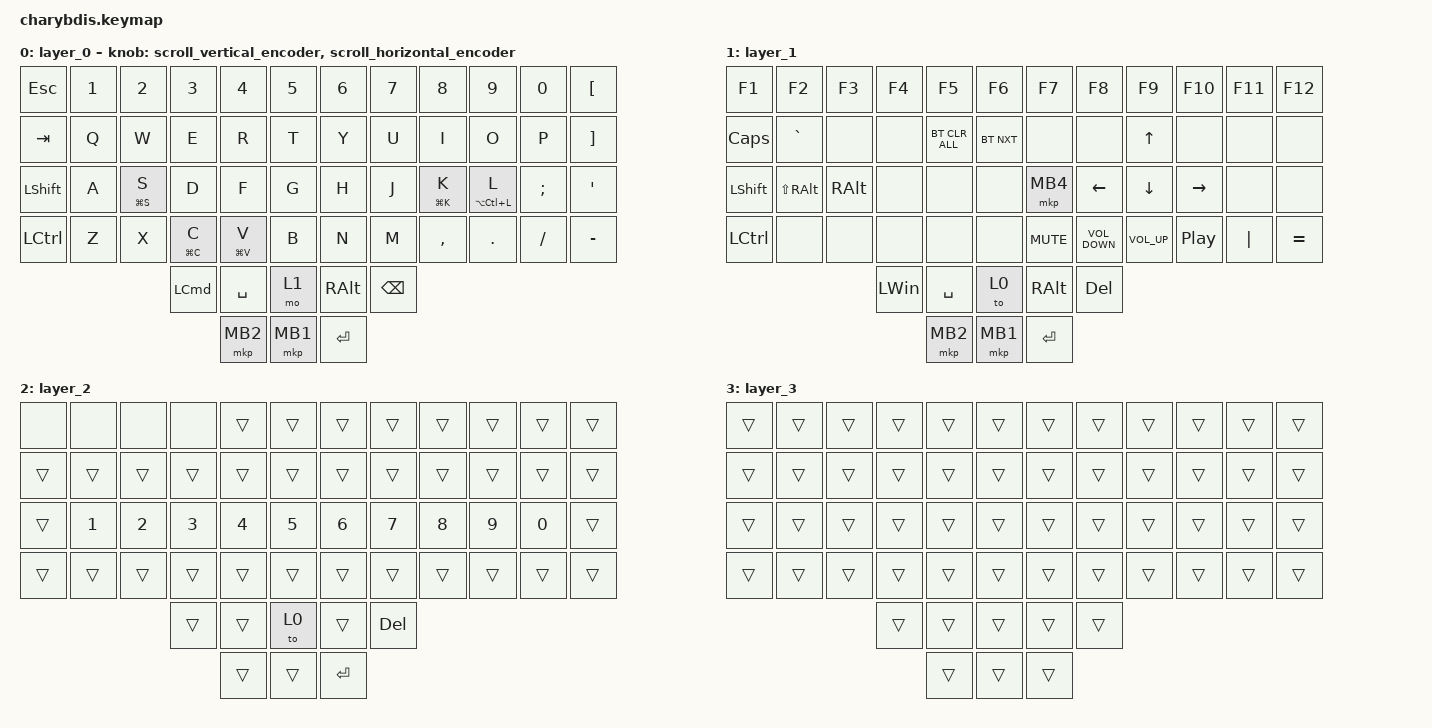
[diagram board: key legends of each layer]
#include <dt-bindings/zmk/mouse.h>
#include <input/processors.dtsi>
#include <zephyr/dt-bindings/input/input-event-codes.h>
#include <behaviors.dtsi>
#include <dt-bindings/zmk/bt.h>
#include <dt-bindings/zmk/keys.h>
#include <dt-bindings/zmk/pointing.h>

#define ZMK_POINTING_DEFAULT_MOVE_VAL 1000 // 600
#define ZMK_POINTING_DEFAULT_SCRL_VAL 12   // 10

&lt {
    tapping-term-ms = <200>;
    flavor = "balanced";
    quick-tap-ms = <150>;
    hold-trigger-key-positions = <50>;
};

&mmv_input_listener { input-processors = <&zip_xy_scaler 2 1>; };

&msc_input_listener { input-processors = <&zip_scroll_scaler 2 1>; };

&msc {
    acceleration-exponent = <0>;      // 0
    time-to-max-speed-ms = <100>;       // 300
    delay-ms = <0>;                   // 0
};

&mmv {
    time-to-max-speed-ms = <500>;
    acceleration-exponent = <1>;
    trigger-period-ms = <16>;
};

/ {
    // 上下滚动编码器行为

    scroll_vertical_encoder: scroll_vertical_encoder {
        compatible = "zmk,behavior-sensor-rotate";
        #sensor-binding-cells = <0>;
        bindings = <&msc SCRL_DOWN>, <&msc SCRL_UP>;

        tap-ms = <100>;
    };

    // 左右滚动编码器行为

    scroll_horizontal_encoder: scroll_horizontal_encoder {
        compatible = "zmk,behavior-sensor-rotate";
        #sensor-binding-cells = <0>;
        bindings = <&msc SCRL_LEFT>, <&msc SCRL_RIGHT>;

        tap-ms = <100>;
    };

    new_behavior: new_behavior {
        compatible = "zmk,behavior-hold-tap";
        label = "NEW_BEHAVIOR";
        bindings = <&mo>, <&mkp>;

        #binding-cells = <2>;
        hold-trigger-key-positions = <48>;
        tapping-term-ms = <1>;
    };

    behaviors {
    };

    combos {
        compatible = "zmk,combos";

        toLayer1 {
            bindings = <&to 1>;
            key-positions = <48 54>;
            layers = <0>;
        };

        toNumpad {
            bindings = <&to 2>;
            key-positions = <48 54>;
            layers = <1>;
        };

        toLayer0 {
            bindings = <&to 0>;
            key-positions = <48 54>;
            layers = <2>;
        };

        mk {
            bindings = <&mkp MB1>;
            key-positions = <42 43>;
        };

        scrolp {
            bindings = <&to 1>;
            key-positions = <55 51>;
            layers = <0>;
        };

        to0 {
            bindings = <&to 0>;
            key-positions = <55 51>;
            layers = <1>;
        };

        alt {
            bindings = <&kp LALT>;
            key-positions = <28 27>;
            layers = <0>;
        };

        to2 {
            bindings = <&to 2>;
            key-positions = <54 50>;
        };

        language_switch {
            bindings = <&kp LC(SPACE)>;
            key-positions = <49 53>;
        };
    };

    keymap {
        compatible = "zmk,keymap";

        layer_0 {
            bindings = <
&kp ESC           &kp N1  &kp N2       &kp N3            &kp N4       &kp N5      &kp N6         &kp N7         &kp N8       &kp N9           &kp N0    &kp LEFT_BRACKET
&kp TAB           &kp Q   &kp W        &kp E             &kp R        &kp T       &kp Y          &kp U          &kp I        &kp O            &kp P     &kp RIGHT_BRACKET
&kp LEFT_SHIFT    &kp A   &mt LG(S) S  &kp D             &kp F        &kp G       &kp H          &kp J          &mt LG(K) K  &mt LA(LC(L)) L  &kp SEMI  &kp SQT
&kp LEFT_CONTROL  &kp Z   &kp X        &mt LG(C) C       &mt LG(V) V  &kp B       &kp N          &kp M          &kp COMMA    &kp DOT          &kp FSLH  &kp MINUS
                                       &kp LEFT_COMMAND  &kp SPACE    &mo 1       &kp RIGHT_ALT  &kp BACKSPACE
                                                         &mkp MB2     &mkp MB1    &kp ENTER
            >;

            sensor-bindings =
                <&scroll_vertical_encoder>,
                // 编码器1：上下滚动,,,,,,,,,,,,,,,,,,,,,,,,,,,,,
                <&scroll_horizontal_encoder>;

            // 编码器2：左右滚动
        };

        layer_1 {
            bindings = <
&kp F1          &kp F2        &kp F3         &kp F4        &kp F5          &kp F6        &kp F7         &kp F8             &kp F9           &kp F10           &kp F11   &kp F12
&kp CAPS        &kp GRAVE     &none          &none         &bt BT_CLR_ALL  &bt BT_NXT    &none          &none              &kp UP           &none             &none     &none
&kp LEFT_SHIFT  &kp LS(RALT)  &kp RIGHT_ALT  &none         &none           &none         &mkp MB4       &kp LEFT           &kp DOWN         &kp RIGHT         &none     &none
&kp LCTRL       &none         &none          &none         &none           &none         &kp K_MUTE     &kp C_VOLUME_DOWN  &kp C_VOLUME_UP  &kp C_PLAY_PAUSE  &kp PIPE  &kp EQUAL
                                             &kp LEFT_WIN  &kp SPACE       &to 0         &kp RIGHT_ALT  &kp DEL
                                                           &mkp MB2        &mkp MB1      &kp ENTER
            >;
        };

        layer_2 {
            bindings = <
&none   &none         &none         &none         &trans        &trans    &trans        &trans      &trans  &trans  &trans  &trans
&trans  &trans        &trans        &trans        &trans        &trans    &trans        &trans      &trans  &trans  &trans  &trans
&trans  &kp NUMBER_1  &kp NUMBER_2  &kp NUMBER_3  &kp NUMBER_4  &kp N5    &kp NUMBER_6  &kp N7      &kp N8  &kp N9  &kp N0  &trans
&trans  &trans        &trans        &trans        &trans        &trans    &trans        &trans      &trans  &trans  &trans  &trans
                                    &trans        &trans        &to 0     &trans        &kp DELETE
                                                  &trans        &trans    &kp ENTER
            >;
        };

        layer_3 {
            bindings = <
&trans  &trans  &trans  &trans  &trans  &trans    &trans  &trans  &trans  &trans  &trans  &trans
&trans  &trans  &trans  &trans  &trans  &trans    &trans  &trans  &trans  &trans  &trans  &trans
&trans  &trans  &trans  &trans  &trans  &trans    &trans  &trans  &trans  &trans  &trans  &trans
&trans  &trans  &trans  &trans  &trans  &trans    &trans  &trans  &trans  &trans  &trans  &trans
                        &trans  &trans  &trans    &trans  &trans
                                &trans  &trans    &trans
            >;
        };

        /* layer_2 {
            bindings = <
&none  &none   &none    &none   &none         &none         &kp N1         &none         &none     &none  &none   &to 0
&none  &none   &none    &none   &none         &none         &none         &none          &rgb_ug RGB_BRD &rgb_ug RGB_BRI  &rgb_ug RGB_EFF   &rgb_ug RGB_TOG
&none  &none   &none    &none   &none         &none         &none         &mkp LCLK     &mkp RCLK  &none  &none   &none
&none  &none   &none    &none   &bt BT_NXT  &bt BT_CLR    &none         &none         &none     &none  &none   &none
                                   &none         &none         &none         &none         &none
                                                 &none         &none         &none
            >;
       
            
        };

       Mouse {
            bindings = <
&none        &none         &none         &none         &none      &none         &none       &none      &none         &none         &none         &none
&none        &bt BT_SEL 0  &bt BT_SEL 1  &bt BT_SEL 3  &none      &bt BT_CLR    &bt BT_CLR  &none      &bt BT_SEL 2  &bt BT_SEL 1  &bt BT_SEL 0  &none
&none        &trans        &trans        &mkp MCLK     &trans     &none         &none       &trans     &mkp MCLK     &trans        &trans        &none
&bootloader  &trans        &mkp RCLK     &mo 4         &mkp LCLK  &mo 5         &mo 5       &mkp LCLK  &mo 4         &mkp RCLK     &trans        &bootloader
                                         &mo 5         &mkp LCLK  &mkp RCLK     &mkp RCLK   &mkp LCLK
                                                       &none      &trans        &trans
            >;

            
        };

        layer_4 {
            bindings = <
&trans  &trans  &trans     &trans     &trans     &trans       &trans     &trans     &trans     &trans     &trans  &trans
&trans  &trans  &trans     &trans     &trans     &trans       &trans     &trans     &trans     &trans     &trans  &trans
&trans  &trans  &trans     &mkp MCLK  &trans     &trans       &trans     &trans     &mkp MCLK  &trans     &trans  &trans
&trans  &trans  &mkp RCLK  &trans     &mkp LCLK  &trans       &trans     &mkp LCLK  &trans     &mkp RCLK  &trans  &trans
                           &trans     &mkp LCLK  &mkp RCLK    &mkp RCLK  &mkp LCLK
                                      &trans     &trans       &trans
            >;
                
                
               
        };

        layer_5 {
            bindings = <
&trans  &trans  &trans     &trans     &trans     &trans       &trans     &trans     &trans     &trans     &trans  &trans
&trans  &trans  &trans     &trans     &trans     &trans       &trans     &trans     &trans     &trans     &trans  &trans
&trans  &trans  &trans     &mkp MCLK  &trans     &trans       &trans     &trans     &mkp MCLK  &trans     &trans  &trans
&trans  &trans  &mkp RCLK  &trans     &mkp LCLK  &trans       &trans     &mkp LCLK  &trans     &mkp RCLK  &trans  &trans
                           &trans     &mkp LCLK  &mkp RCLK    &mkp RCLK  &mkp LCLK
                                      &trans     &trans       &trans
            >;
                
                
        };*/
    };
};
